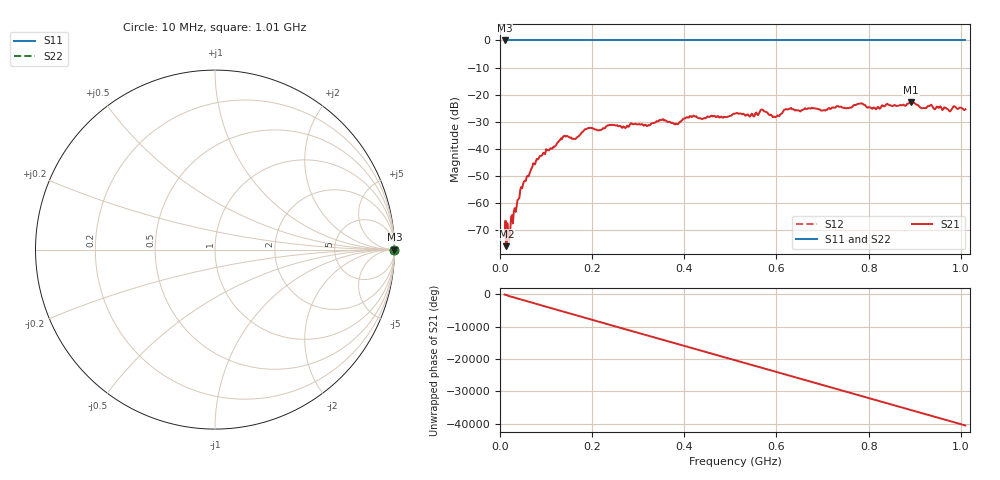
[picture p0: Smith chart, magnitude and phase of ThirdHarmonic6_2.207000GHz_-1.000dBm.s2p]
! 8/17/2025 2:18:05 AM
! C:\ANRITSUVNA\TEMP\TEMP.S2P
! CHANNEL.1
! TR.MEASUREMENT
! RAW.DATA
! RF.CORRECTION.OFF
! AVERAGING.OFF
! IF.BANDWIDTH: 5KHZ
! SWEEPTYPE:  FREQ.SWEEP(Linear)
! Reference Plane Port Info
! PORT:  PORT1  PORT2
! DISTANCE:  0  m  0  m
! TIME:  0  s  0  s
! PHASE.OFFSET:  0  deg.  0  deg.
! LOSS:  0  dB  0  dB
! REF.LOSS:  0  dB  0  dB
! REF.FREQ:  0  Hz  0  Hz
! Power Info
! POWER:  -20  dBm  -20  dBm
! EFF.POWER:  -20  dBm  -20  dBm
! SOURCE.ATTEN:  0  dB  0  dB
! TEST.ATTEN:  0  dB  0  dB
# GHZ S RI R 50.0
! FREQ.GHZ  S11RE  S11IM  S21RE  S21IM  S12RE  S12IM  S22RE  S22IM
!; PortSelection: Port_12
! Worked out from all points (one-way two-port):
!   501 points, 10 MHz to 1.01 GHz, reference 50 ohm
!   highest |S21| = -22.64 dB at 892 MHz (marker M1); lowest = -75.8 dB at 14 MHz (marker M2)
!   lowest |S11| = 0.0 dB at 10 MHz (marker M3)
!   |S11| at or under -10 dB: nowhere
!   |S22| runs from 0.0 to 0.0 dB; largest |S21 - S12| = 1.1
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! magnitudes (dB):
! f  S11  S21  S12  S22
! 10 MHz  0.0  -72.1  0.0  0.0
! 14 MHz  0.0  -75.8  0.0  0.0
! 18 MHz  0.0  -71.8  0.0  0.0
! 28 MHz  0.0  -67.5  0.0  0.0
! 48 MHz  0.0  -54.5  0.0  0.0
! 76 MHz  0.0  -45.7  0.0  0.0
! 136 MHz  0.0  -35.7  0.0  0.0
! 162 MHz  0.0  -36.3  0.0  0.0
! 178 MHz  0.0  -33.8  0.0  0.0
! 344 MHz  0.0  -29.8  0.0  0.0
! 382 MHz  0.0  -30.7  0.0  0.0
! 416 MHz  0.0  -28.3  0.0  0.0
! 510 MHz  0.0  -27.0  0.0  0.0
! 548 MHz  0.0  -27.1  0.0  0.0
! 570 MHz  0.0  -25.5  0.0  0.0
! 596 MHz  0.0  -28.1  0.0  0.0
! 620 MHz  0.0  -25.3  0.0  0.0
! 678 MHz  0.0  -25.0  0.0  0.0
! 844 MHz  0.0  -23.8  0.0  0.0
! 892 MHz  0.0  -22.6  0.0  0.0
! 918 MHz  0.0  -24.9  0.0  0.0
! 1.01 GHz  0.0  -25.4  0.0  0.0
